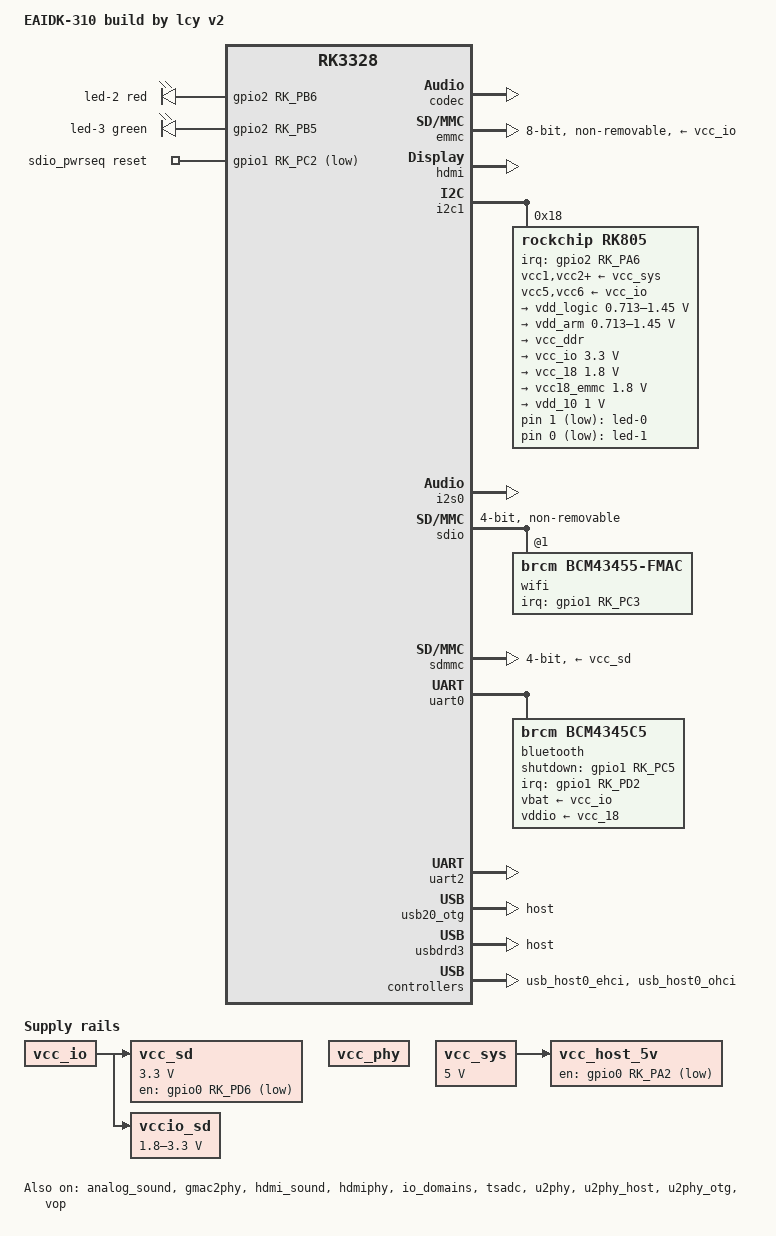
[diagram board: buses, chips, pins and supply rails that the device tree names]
// SPDX-License-Identifier: (GPL-2.0+ OR MIT)
/*
 * Copyright (c) 2026 Open AI Lab
 */

/dts-v1/;
#include <dt-bindings/leds/common.h>
#include "rk3328.dtsi"

/ {
	model = "EAIDK-310 build by lcy v2";
	compatible = "openailab,eaidk-310", "rockchip,rk3328";

	aliases {
		ethernet0 = &gmac2phy;
		mmc0 = &sdmmc;
		mmc1 = &sdio;
		mmc2 = &emmc;
	};

	chosen {
		stdout-path = "serial2:1500000n8";
	};

	leds {
		compatible = "gpio-leds";
		pinctrl-names = "default";
		pinctrl-0 = <&eth0_data_led_pin &eth0_link_led_pin>;

		led-0 {
			function = LED_FUNCTION_DISK;
			gpios = <&rk805 1 GPIO_ACTIVE_LOW>;
			linux,default-trigger = "mmc0";
		};

		led-1 {
			function = LED_FUNCTION_STATUS;
			gpios = <&rk805 0 GPIO_ACTIVE_LOW>;
			linux,default-trigger = "heartbeat";
		};

		led-2 {
			color = <LED_COLOR_ID_RED>;
			function = LED_FUNCTION_LAN;
			function-enumerator = <0>;
			gpios = <&gpio2 RK_PB6 GPIO_ACTIVE_HIGH>;
		};

		led-3 {
			color = <LED_COLOR_ID_GREEN>;
			function = LED_FUNCTION_LAN;
			function-enumerator = <1>;
			gpios = <&gpio2 RK_PB5 GPIO_ACTIVE_HIGH>;
		};
	};

	sdio_pwrseq: sdio-pwrseq {
		compatible = "mmc-pwrseq-simple";
		pinctrl-names = "default";
		pinctrl-0 = <&wifi_enable_h>;
		reset-gpios = <&gpio1 RK_PC2 GPIO_ACTIVE_LOW>;
	};

	vcc_host_5v: vcc-host-5v-regulator {
		compatible = "regulator-fixed";
		gpio = <&gpio0 RK_PA2 GPIO_ACTIVE_LOW>;
		pinctrl-names = "default";
		pinctrl-0 = <&usb20_host_drv>;
		regulator-name = "vcc_host_5v";
		regulator-always-on;
		regulator-boot-on;
		vin-supply = <&vcc_sys>;
	};

	vcc_phy: vcc-phy-regulator {
		compatible = "regulator-fixed";
		regulator-name = "vcc_phy";
		regulator-always-on;
		regulator-boot-on;
	};

	vcc_sd: sdmmc-regulator {
		compatible = "regulator-fixed";
		gpio = <&gpio0 RK_PD6 GPIO_ACTIVE_LOW>;
		pinctrl-names = "default";
		pinctrl-0 = <&sdmmc0m1_pin>;
		regulator-name = "vcc_sd";
		regulator-min-microvolt = <3300000>;
		regulator-max-microvolt = <3300000>;
		vin-supply = <&vcc_io>;
	};

	vcc_sys: vcc-sys {
		compatible = "regulator-fixed";
		regulator-name = "vcc_sys";
		regulator-always-on;
		regulator-boot-on;
		regulator-min-microvolt = <5000000>;
		regulator-max-microvolt = <5000000>;
	};

	vccio_sd: sdmmcio-regulator {
		compatible = "regulator-gpio";
		enable-active-high;
		gpios = <&gpio1 RK_PD4 GPIO_ACTIVE_HIGH>;
		regulator-name = "vccio_sd";
		regulator-type = "voltage";
		regulator-min-microvolt = <1800000>;
		regulator-max-microvolt = <3300000>;
		regulator-always-on;
		regulator-settling-time-us = <5000>;
		startup-delay-us = <2000>;
		states = <1800000 1>, <3300000 0>;
		vin-supply = <&vcc_io>;
	};
};

&analog_sound {
	status = "okay";
};

&codec {
	mute-gpios = <&grf_gpio 0 GPIO_ACTIVE_LOW>;
	status = "okay";
};

&cpu0 {
	cpu-supply = <&vdd_arm>;
};

&cpu1 {
	cpu-supply = <&vdd_arm>;
};

&cpu2 {
	cpu-supply = <&vdd_arm>;
};

&cpu3 {
	cpu-supply = <&vdd_arm>;
};

&emmc {
	bus-width = <8>;
	cap-mmc-highspeed;
	mmc-hs200-1_8v;
	non-removable;
	pinctrl-names = "default";
	pinctrl-0 = <&emmc_clk &emmc_cmd &emmc_bus8>;
	vmmc-supply = <&vcc_io>;
	vqmmc-supply = <&vcc18_emmc>;
	status = "okay";
};

&gmac2io {
	status = "disabled";
};

&gmac2phy {
	assigned-clocks = <&cru SCLK_MAC2PHY>;
	assigned-clock-parents = <&cru SCLK_MAC2PHY_SRC>;
	assigned-clock-rates = <50000000>;
	clock_in_out = "output";
	phy-mode = "rmii";
	phy-supply = <&vcc_phy>;
	status = "okay";
};

&gpu {
	mali-supply = <&vdd_logic>;
};

&hdmi {
	avdd-0v9-supply = <&vdd_10>;
	avdd-1v8-supply = <&vcc_18>;
	pinctrl-names = "default";
	pinctrl-0 = <&hdmii2c_xfer>;
	status = "okay";
};

&hdmi_sound {
	status = "okay";
};

&hdmiphy {
	status = "okay";
};

&i2c0 {
	status = "disabled";
};

&i2c1 {
	status = "okay";

	rk805: pmic@18 {
		compatible = "rockchip,rk805";
		reg = <0x18>;
		interrupt-parent = <&gpio2>;
		interrupts = <RK_PA6 IRQ_TYPE_LEVEL_LOW>;
		#clock-cells = <1>;
		clock-output-names = "xin32k", "rk805-clkout2";
		gpio-controller;
		#gpio-cells = <2>;
		pinctrl-names = "default";
		pinctrl-0 = <&pmic_int_l>;
		rockchip,system-power-controller;
		wakeup-source;

		vcc1-supply = <&vcc_sys>;
		vcc2-supply = <&vcc_sys>;
		vcc3-supply = <&vcc_sys>;
		vcc4-supply = <&vcc_sys>;
		vcc5-supply = <&vcc_io>;
		vcc6-supply = <&vcc_io>;

		regulators {
			vdd_logic: DCDC_REG1 {
				regulator-name = "vdd_logic";
				regulator-min-microvolt = <712500>;
				regulator-max-microvolt = <1450000>;
				regulator-ramp-delay = <12500>;
				regulator-always-on;
				regulator-boot-on;

				regulator-state-mem {
					regulator-on-in-suspend;
					regulator-suspend-microvolt = <1000000>;
				};
			};

			vdd_arm: DCDC_REG2 {
				regulator-name = "vdd_arm";
				regulator-min-microvolt = <712500>;
				regulator-max-microvolt = <1450000>;
				regulator-ramp-delay = <12500>;
				regulator-always-on;
				regulator-boot-on;

				regulator-state-mem {
					regulator-on-in-suspend;
					regulator-suspend-microvolt = <950000>;
				};
			};

			vcc_ddr: DCDC_REG3 {
				regulator-name = "vcc_ddr";
				regulator-always-on;
				regulator-boot-on;

				regulator-state-mem {
					regulator-on-in-suspend;
				};
			};

			vcc_io: DCDC_REG4 {
				regulator-name = "vcc_io";
				regulator-min-microvolt = <3300000>;
				regulator-max-microvolt = <3300000>;
				regulator-always-on;
				regulator-boot-on;

				regulator-state-mem {
					regulator-on-in-suspend;
					regulator-suspend-microvolt = <3300000>;
				};
			};

			vcc_18: LDO_REG1 {
				regulator-name = "vcc_18";
				regulator-min-microvolt = <1800000>;
				regulator-max-microvolt = <1800000>;
				regulator-always-on;
				regulator-boot-on;

				regulator-state-mem {
					regulator-on-in-suspend;
					regulator-suspend-microvolt = <1800000>;
				};
			};

			vcc18_emmc: LDO_REG2 {
				regulator-name = "vcc18_emmc";
				regulator-min-microvolt = <1800000>;
				regulator-max-microvolt = <1800000>;
				regulator-always-on;
				regulator-boot-on;

				regulator-state-mem {
					regulator-on-in-suspend;
					regulator-suspend-microvolt = <1800000>;
				};
			};

			vdd_10: LDO_REG3 {
				regulator-name = "vdd_10";
				regulator-min-microvolt = <1000000>;
				regulator-max-microvolt = <1000000>;
				regulator-always-on;
				regulator-boot-on;

				regulator-state-mem {
					regulator-on-in-suspend;
					regulator-suspend-microvolt = <1000000>;
				};
			};
		};
	};
};

&i2c2 {
	status = "disabled";
};

&i2c3 {
	status = "disabled";
};

&i2s0 {
	status = "okay";
};

&i2s1 {
	status = "disabled";
};

&io_domains {
	vccio1-supply = <&vcc_io>;
	vccio2-supply = <&vcc18_emmc>;
	vccio3-supply = <&vcc_18>;
	vccio4-supply = <&vcc_18>;
	vccio5-supply = <&vcc_io>;
	vccio6-supply = <&vcc_io>;
	pmuio-supply = <&vcc_io>;
	status = "okay";
};

&pinctrl {
	bt {
		bt_reg_on: bt-reg-on {
			rockchip,pins = <1 RK_PC5 RK_FUNC_GPIO &pcfg_pull_down>;
		};

		bt_wake_host: bt-wake-host {
			rockchip,pins = <1 RK_PD2 RK_FUNC_GPIO &pcfg_pull_none>;
		};
	};

	leds {
		eth0_data_led_pin: eth0-data-led-pin {
			rockchip,pins = <2 RK_PB6 RK_FUNC_GPIO &pcfg_pull_none>;
		};

		eth0_link_led_pin: eth0-link-led-pin {
			rockchip,pins = <2 RK_PB5 RK_FUNC_GPIO &pcfg_pull_none>;
		};
	};

	pmic {
		pmic_int_l: pmic-int-l {
			rockchip,pins = <2 RK_PA6 RK_FUNC_GPIO &pcfg_pull_up>;
		};
	};

	sdio-pwrseq {
		wifi_enable_h: wifi-enable-h {
			rockchip,pins = <1 RK_PC2 RK_FUNC_GPIO &pcfg_pull_none_4ma>;
		};

		wifi_host_wake: wifi-host-wake {
			rockchip,pins = <1 RK_PC3 RK_FUNC_GPIO &pcfg_pull_none_4ma>;
		};
	};

	usb2 {
		usb20_host_drv: usb20-host-drv {
			rockchip,pins = <0 RK_PA2 RK_FUNC_GPIO &pcfg_pull_none>;
		};
	};
};

&pwm0 {
	status = "disabled";
};

&pwm1 {
	status = "disabled";
};

&pwm2 {
	status = "disabled";
};

&pwm3 {
	status = "disabled";
};

&sdio {
	#address-cells = <1>;
	#size-cells = <0>;
	bus-width = <4>;
	cap-sd-highspeed;
	cap-sdio-irq;
	keep-power-in-suspend;
	max-frequency = <125000000>;
	mmc-pwrseq = <&sdio_pwrseq>;
	no-mmc;
	no-sd;
	non-removable;
	pinctrl-names = "default";
	pinctrl-0 = <&sdmmc1_bus4 &sdmmc1_cmd &sdmmc1_clk>;
	sd-uhs-sdr104;
	status = "okay";

	wifi@1 {
		compatible = "brcm,bcm43455-fmac", "brcm,bcm4329-fmac";
		reg = <1>;
		interrupt-parent = <&gpio1>;
		interrupts = <RK_PC3 IRQ_TYPE_LEVEL_HIGH>;
		interrupt-names = "host-wake";
		pinctrl-names = "default";
		pinctrl-0 = <&wifi_host_wake>;
	};
};

&sdmmc {
	bus-width = <4>;
	cap-mmc-highspeed;
	cap-sd-highspeed;
	disable-wp;
	max-frequency = <150000000>;
	pinctrl-names = "default";
	pinctrl-0 = <&sdmmc0_clk &sdmmc0_cmd &sdmmc0_dectn &sdmmc0_bus4>;
	sd-uhs-sdr50;
	sd-uhs-sdr104;
	vmmc-supply = <&vcc_sd>;
	vqmmc-supply = <&vccio_sd>;
	status = "okay";
};

&sdmmc_ext {
	status = "disabled";
};

&spdif {
	status = "disabled";
};

&spi0 {
	status = "disabled";
};

&tsadc {
	rockchip,hw-tshut-mode = <0>;
	rockchip,hw-tshut-polarity = <0>;
	status = "okay";
};

&uart0 {
	pinctrl-names = "default";
	pinctrl-0 = <&uart0_xfer &uart0_cts &uart0_rts>;
	uart-has-rtscts;
	status = "okay";

	bluetooth {
		compatible = "brcm,bcm4345c5";
		clocks = <&rk805 1>;
		clock-names = "lpo";
		interrupt-parent = <&gpio1>;
		interrupts = <RK_PD2 IRQ_TYPE_LEVEL_HIGH>;
		interrupt-names = "host-wakeup";
		max-speed = <4000000>;
		pinctrl-names = "default";
		pinctrl-0 = <&bt_reg_on &bt_wake_host>;
		shutdown-gpios = <&gpio1 RK_PC5 GPIO_ACTIVE_HIGH>;
		vbat-supply = <&vcc_io>;
		vddio-supply = <&vcc_18>;
	};
};

&uart2 {
	status = "okay";
};

&u2phy {
	status = "okay";
};

&u2phy_host {
	phy-supply = <&vcc_host_5v>;
	status = "okay";
};

&u2phy_otg {
	phy-supply = <&vcc_host_5v>;
	status = "okay";
};

&usb20_otg {
	dr_mode = "host";
	status = "okay";
};

&usbdrd3 {
	dr_mode = "host";
	status = "okay";
};

&usb_host0_ehci {
	status = "okay";
};

&usb_host0_ohci {
	status = "okay";
};

&vop {
	status = "okay";
};

&vop_mmu {
	status = "okay";
};
